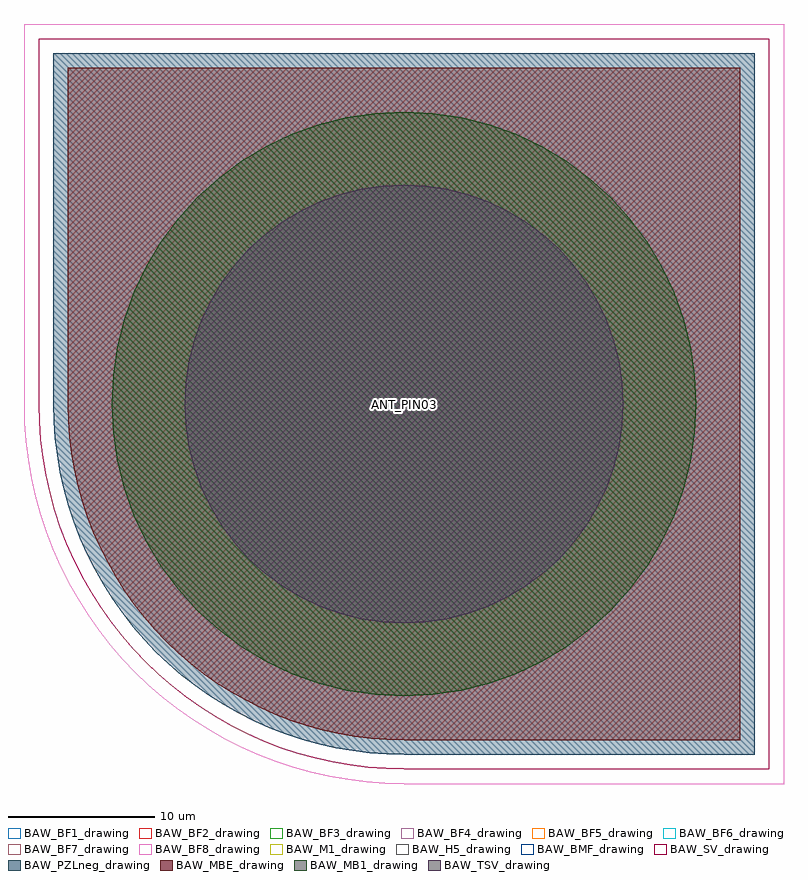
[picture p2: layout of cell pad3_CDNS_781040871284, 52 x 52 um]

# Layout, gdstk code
import gdstk
lib = gdstk.Library(unit=1e-6, precision=1e-09)
def P(c, l, *ps):  # polygons
    for p in ps: c.add(gdstk.Polygon(p, *l))
BAW_MBE_drawing = (2, 0)
BAW_SV_drawing = (7, 0)
BAW_M1_drawing = (8, 0)
BAW_MB1_drawing = (10, 0)
BAW_TSV_drawing = (11, 0)
EM_VPT_drawing = (35, 0)
BAW_BMF_drawing = (55, 0)
BAW_BF1_drawing = (140, 0)
BAW_BF2_drawing = (141, 0)
BAW_BF3_drawing = (142, 0)
BAW_BF4_drawing = (143, 0)
BAW_BF5_drawing = (144, 0)
BAW_BF6_drawing = (145, 0)
BAW_BF7_drawing = (146, 0)
BAW_BF8_drawing = (147, 0)
BAW_H5_drawing = (202, 0)
BAW_PZLneg_drawing = (264, 0)

pad3_cdns_781040871284 = lib.new_cell('pad3_CDNS_781040871284')
P(pad3_cdns_781040871284, BAW_MBE_drawing, [(0,-23),(-1.129,-22.972),(-2.254,-22.889),(-3.375,-22.751),(-4.487,-22.558),(-5.589,-22.311),(-6.677,-22.01),(-7.749,-21.656),(-8.802,-21.249),(-9.834,-20.792),(-10.842,-20.284),(-11.824,-19.728),(-12.778,-19.124),(-13.701,-18.474),(-14.591,-17.779),(-15.446,-17.042),(-16.264,-16.264),(-17.042,-15.446),(-17.779,-14.591),(-18.474,-13.701),(-19.124,-12.778),(-19.728,-11.824),(-20.284,-10.842),(-20.792,-9.834),(-21.249,-8.802),(-21.656,-7.749),(-22.01,-6.677),(-22.311,-5.589),(-22.558,-4.487),(-22.751,-3.375),(-22.889,-2.254),(-22.972,-1.129),(-23,0),(-23,23),(23,23),(23,-23)])
P(pad3_cdns_781040871284, BAW_SV_drawing, [(0,-25),(-1.227,-24.97),(-2.45,-24.88),(-3.668,-24.729),(-4.877,-24.52),(-6.075,-24.251),(-7.257,-23.924),(-8.422,-23.539),(-9.567,-23.097),(-10.689,-22.6),(-11.785,-22.048),(-12.853,-21.443),(-13.889,-20.787),(-14.893,-20.08),(-15.86,-19.325),(-16.789,-18.524),(-17.678,-17.678),(-18.524,-16.789),(-19.325,-15.86),(-20.08,-14.893),(-20.787,-13.889),(-21.443,-12.853),(-22.048,-11.785),(-22.6,-10.689),(-23.097,-9.567),(-23.539,-8.422),(-23.924,-7.257),(-24.251,-6.075),(-24.52,-4.877),(-24.729,-3.668),(-24.88,-2.45),(-24.97,-1.227),(-25,0),(-25,25),(25,25),(25,-25)])
P(pad3_cdns_781040871284, BAW_M1_drawing, [(0,-25),(-1.227,-24.97),(-2.45,-24.88),(-3.668,-24.729),(-4.877,-24.52),(-6.075,-24.251),(-7.257,-23.924),(-8.422,-23.539),(-9.567,-23.097),(-10.689,-22.6),(-11.785,-22.048),(-12.853,-21.443),(-13.889,-20.787),(-14.893,-20.08),(-15.86,-19.325),(-16.789,-18.524),(-17.678,-17.678),(-18.524,-16.789),(-19.325,-15.86),(-20.08,-14.893),(-20.787,-13.889),(-21.443,-12.853),(-22.048,-11.785),(-22.6,-10.689),(-23.097,-9.567),(-23.539,-8.422),(-23.924,-7.257),(-24.251,-6.075),(-24.52,-4.877),(-24.729,-3.668),(-24.88,-2.45),(-24.97,-1.227),(-25,0),(-25,25),(25,25),(25,-25)])
P(pad3_cdns_781040871284, BAW_MB1_drawing, [(20,0),(19.904,1.96),(19.616,3.902),(19.139,5.806),(18.478,7.654),(17.638,9.428),(16.629,11.111),(15.46,12.688),(14.142,14.142),(12.688,15.46),(11.111,16.629),(9.428,17.638),(7.654,18.478),(5.806,19.139),(3.902,19.616),(1.96,19.904),(0,20),(-1.96,19.904),(-3.902,19.616),(-5.806,19.139),(-7.654,18.478),(-9.428,17.638),(-11.111,16.629),(-12.688,15.46),(-14.142,14.142),(-15.46,12.688),(-16.629,11.111),(-17.638,9.428),(-18.478,7.654),(-19.139,5.806),(-19.616,3.902),(-19.904,1.96),(-20,0),(-19.904,-1.96),(-19.616,-3.902),(-19.139,-5.806),(-18.478,-7.654),(-17.638,-9.428),(-16.629,-11.111),(-15.46,-12.688),(-14.142,-14.142),(-12.688,-15.46),(-11.111,-16.629),(-9.428,-17.638),(-7.654,-18.478),(-5.806,-19.139),(-3.902,-19.616),(-1.96,-19.904),(0,-20),(1.96,-19.904),(3.902,-19.616),(5.806,-19.139),(7.654,-18.478),(9.428,-17.638),(11.111,-16.629),(12.688,-15.46),(14.142,-14.142),(15.46,-12.688),(16.629,-11.111),(17.638,-9.428),(18.478,-7.654),(19.139,-5.806),(19.616,-3.902),(19.904,-1.96)])
P(pad3_cdns_781040871284, BAW_TSV_drawing, [(15,0),(14.928,1.47),(14.712,2.926),(14.354,4.354),(13.858,5.74),(13.229,7.071),(12.472,8.334),(11.595,9.516),(10.607,10.607),(9.516,11.595),(8.334,12.472),(7.071,13.229),(5.74,13.858),(4.354,14.354),(2.926,14.712),(1.47,14.928),(0,15),(-1.47,14.928),(-2.926,14.712),(-4.354,14.354),(-5.74,13.858),(-7.071,13.229),(-8.334,12.472),(-9.516,11.595),(-10.607,10.607),(-11.595,9.516),(-12.472,8.334),(-13.229,7.071),(-13.858,5.74),(-14.354,4.354),(-14.712,2.926),(-14.928,1.47),(-15,0),(-14.928,-1.47),(-14.712,-2.926),(-14.354,-4.354),(-13.858,-5.74),(-13.229,-7.071),(-12.472,-8.334),(-11.595,-9.516),(-10.607,-10.607),(-9.516,-11.595),(-8.334,-12.472),(-7.071,-13.229),(-5.74,-13.858),(-4.354,-14.354),(-2.926,-14.712),(-1.47,-14.928),(0,-15),(1.47,-14.928),(2.926,-14.712),(4.354,-14.354),(5.74,-13.858),(7.071,-13.229),(8.334,-12.472),(9.516,-11.595),(10.607,-10.607),(11.595,-9.516),(12.472,-8.334),(13.229,-7.071),(13.858,-5.74),(14.354,-4.354),(14.712,-2.926),(14.928,-1.47)])
P(pad3_cdns_781040871284, BAW_BMF_drawing, [(0,-25),(-1.227,-24.97),(-2.45,-24.88),(-3.668,-24.729),(-4.877,-24.52),(-6.075,-24.251),(-7.257,-23.924),(-8.422,-23.539),(-9.567,-23.097),(-10.689,-22.6),(-11.785,-22.048),(-12.853,-21.443),(-13.889,-20.787),(-14.893,-20.08),(-15.86,-19.325),(-16.789,-18.524),(-17.678,-17.678),(-18.524,-16.789),(-19.325,-15.86),(-20.08,-14.893),(-20.787,-13.889),(-21.443,-12.853),(-22.048,-11.785),(-22.6,-10.689),(-23.097,-9.567),(-23.539,-8.422),(-23.924,-7.257),(-24.251,-6.075),(-24.52,-4.877),(-24.729,-3.668),(-24.88,-2.45),(-24.97,-1.227),(-25,0),(-25,25),(25,25),(25,-25)])
P(pad3_cdns_781040871284, BAW_BF1_drawing, [(0,-26),(-1.276,-25.969),(-2.548,-25.875),(-3.815,-25.719),(-5.072,-25.5),(-6.318,-25.221),(-7.547,-24.88),(-8.759,-24.48),(-9.95,-24.021),(-11.116,-23.504),(-12.256,-22.93),(-13.367,-22.301),(-14.445,-21.618),(-15.488,-20.883),(-16.494,-20.098),(-17.461,-19.265),(-18.385,-18.385),(-19.265,-17.461),(-20.098,-16.494),(-20.883,-15.488),(-21.618,-14.445),(-22.301,-13.367),(-22.93,-12.256),(-23.504,-11.116),(-24.021,-9.95),(-24.48,-8.759),(-24.88,-7.547),(-25.221,-6.318),(-25.5,-5.072),(-25.719,-3.815),(-25.875,-2.548),(-25.969,-1.276),(-26,0),(-26,26),(26,26),(26,-26)])
P(pad3_cdns_781040871284, BAW_BF2_drawing, [(0,-26),(-1.276,-25.969),(-2.548,-25.875),(-3.815,-25.719),(-5.072,-25.5),(-6.318,-25.221),(-7.547,-24.88),(-8.759,-24.48),(-9.95,-24.021),(-11.116,-23.504),(-12.256,-22.93),(-13.367,-22.301),(-14.445,-21.618),(-15.488,-20.883),(-16.494,-20.098),(-17.461,-19.265),(-18.385,-18.385),(-19.265,-17.461),(-20.098,-16.494),(-20.883,-15.488),(-21.618,-14.445),(-22.301,-13.367),(-22.93,-12.256),(-23.504,-11.116),(-24.021,-9.95),(-24.48,-8.759),(-24.88,-7.547),(-25.221,-6.318),(-25.5,-5.072),(-25.719,-3.815),(-25.875,-2.548),(-25.969,-1.276),(-26,0),(-26,26),(26,26),(26,-26)])
P(pad3_cdns_781040871284, BAW_BF3_drawing, [(0,-26),(-1.276,-25.969),(-2.548,-25.875),(-3.815,-25.719),(-5.072,-25.5),(-6.318,-25.221),(-7.547,-24.88),(-8.759,-24.48),(-9.95,-24.021),(-11.116,-23.504),(-12.256,-22.93),(-13.367,-22.301),(-14.445,-21.618),(-15.488,-20.883),(-16.494,-20.098),(-17.461,-19.265),(-18.385,-18.385),(-19.265,-17.461),(-20.098,-16.494),(-20.883,-15.488),(-21.618,-14.445),(-22.301,-13.367),(-22.93,-12.256),(-23.504,-11.116),(-24.021,-9.95),(-24.48,-8.759),(-24.88,-7.547),(-25.221,-6.318),(-25.5,-5.072),(-25.719,-3.815),(-25.875,-2.548),(-25.969,-1.276),(-26,0),(-26,26),(26,26),(26,-26)])
P(pad3_cdns_781040871284, BAW_BF4_drawing, [(0,-26),(-1.276,-25.969),(-2.548,-25.875),(-3.815,-25.719),(-5.072,-25.5),(-6.318,-25.221),(-7.547,-24.88),(-8.759,-24.48),(-9.95,-24.021),(-11.116,-23.504),(-12.256,-22.93),(-13.367,-22.301),(-14.445,-21.618),(-15.488,-20.883),(-16.494,-20.098),(-17.461,-19.265),(-18.385,-18.385),(-19.265,-17.461),(-20.098,-16.494),(-20.883,-15.488),(-21.618,-14.445),(-22.301,-13.367),(-22.93,-12.256),(-23.504,-11.116),(-24.021,-9.95),(-24.48,-8.759),(-24.88,-7.547),(-25.221,-6.318),(-25.5,-5.072),(-25.719,-3.815),(-25.875,-2.548),(-25.969,-1.276),(-26,0),(-26,26),(26,26),(26,-26)])
P(pad3_cdns_781040871284, BAW_BF5_drawing, [(0,-26),(-1.276,-25.969),(-2.548,-25.875),(-3.815,-25.719),(-5.072,-25.5),(-6.318,-25.221),(-7.547,-24.88),(-8.759,-24.48),(-9.95,-24.021),(-11.116,-23.504),(-12.256,-22.93),(-13.367,-22.301),(-14.445,-21.618),(-15.488,-20.883),(-16.494,-20.098),(-17.461,-19.265),(-18.385,-18.385),(-19.265,-17.461),(-20.098,-16.494),(-20.883,-15.488),(-21.618,-14.445),(-22.301,-13.367),(-22.93,-12.256),(-23.504,-11.116),(-24.021,-9.95),(-24.48,-8.759),(-24.88,-7.547),(-25.221,-6.318),(-25.5,-5.072),(-25.719,-3.815),(-25.875,-2.548),(-25.969,-1.276),(-26,0),(-26,26),(26,26),(26,-26)])
P(pad3_cdns_781040871284, BAW_BF6_drawing, [(0,-26),(-1.276,-25.969),(-2.548,-25.875),(-3.815,-25.719),(-5.072,-25.5),(-6.318,-25.221),(-7.547,-24.88),(-8.759,-24.48),(-9.95,-24.021),(-11.116,-23.504),(-12.256,-22.93),(-13.367,-22.301),(-14.445,-21.618),(-15.488,-20.883),(-16.494,-20.098),(-17.461,-19.265),(-18.385,-18.385),(-19.265,-17.461),(-20.098,-16.494),(-20.883,-15.488),(-21.618,-14.445),(-22.301,-13.367),(-22.93,-12.256),(-23.504,-11.116),(-24.021,-9.95),(-24.48,-8.759),(-24.88,-7.547),(-25.221,-6.318),(-25.5,-5.072),(-25.719,-3.815),(-25.875,-2.548),(-25.969,-1.276),(-26,0),(-26,26),(26,26),(26,-26)])
P(pad3_cdns_781040871284, BAW_BF7_drawing, [(0,-26),(-1.276,-25.969),(-2.548,-25.875),(-3.815,-25.719),(-5.072,-25.5),(-6.318,-25.221),(-7.547,-24.88),(-8.759,-24.48),(-9.95,-24.021),(-11.116,-23.504),(-12.256,-22.93),(-13.367,-22.301),(-14.445,-21.618),(-15.488,-20.883),(-16.494,-20.098),(-17.461,-19.265),(-18.385,-18.385),(-19.265,-17.461),(-20.098,-16.494),(-20.883,-15.488),(-21.618,-14.445),(-22.301,-13.367),(-22.93,-12.256),(-23.504,-11.116),(-24.021,-9.95),(-24.48,-8.759),(-24.88,-7.547),(-25.221,-6.318),(-25.5,-5.072),(-25.719,-3.815),(-25.875,-2.548),(-25.969,-1.276),(-26,0),(-26,26),(26,26),(26,-26)])
P(pad3_cdns_781040871284, BAW_BF8_drawing, [(0,-26),(-1.276,-25.969),(-2.548,-25.875),(-3.815,-25.719),(-5.072,-25.5),(-6.318,-25.221),(-7.547,-24.88),(-8.759,-24.48),(-9.95,-24.021),(-11.116,-23.504),(-12.256,-22.93),(-13.367,-22.301),(-14.445,-21.618),(-15.488,-20.883),(-16.494,-20.098),(-17.461,-19.265),(-18.385,-18.385),(-19.265,-17.461),(-20.098,-16.494),(-20.883,-15.488),(-21.618,-14.445),(-22.301,-13.367),(-22.93,-12.256),(-23.504,-11.116),(-24.021,-9.95),(-24.48,-8.759),(-24.88,-7.547),(-25.221,-6.318),(-25.5,-5.072),(-25.719,-3.815),(-25.875,-2.548),(-25.969,-1.276),(-26,0),(-26,26),(26,26),(26,-26)])
P(pad3_cdns_781040871284, BAW_H5_drawing, [(0,-25),(-1.227,-24.97),(-2.45,-24.88),(-3.668,-24.729),(-4.877,-24.52),(-6.075,-24.251),(-7.257,-23.924),(-8.422,-23.539),(-9.567,-23.097),(-10.689,-22.6),(-11.785,-22.048),(-12.853,-21.443),(-13.889,-20.787),(-14.893,-20.08),(-15.86,-19.325),(-16.789,-18.524),(-17.678,-17.678),(-18.524,-16.789),(-19.325,-15.86),(-20.08,-14.893),(-20.787,-13.889),(-21.443,-12.853),(-22.048,-11.785),(-22.6,-10.689),(-23.097,-9.567),(-23.539,-8.422),(-23.924,-7.257),(-24.251,-6.075),(-24.52,-4.877),(-24.729,-3.668),(-24.88,-2.45),(-24.97,-1.227),(-25,0),(-25,25),(25,25),(25,-25)])
P(pad3_cdns_781040871284, BAW_PZLneg_drawing, [(0,-24),(-1.178,-23.971),(-2.352,-23.884),(-3.522,-23.74),(-4.682,-23.539),(-5.832,-23.281),(-6.967,-22.967),(-8.085,-22.597),(-9.184,-22.173),(-10.261,-21.696),(-11.314,-21.166),(-12.339,-20.586),(-13.334,-19.955),(-14.297,-19.277),(-15.225,-18.552),(-16.117,-17.783),(-16.971,-16.971),(-17.783,-16.117),(-18.552,-15.225),(-19.277,-14.297),(-19.955,-13.334),(-20.586,-12.339),(-21.166,-11.314),(-21.696,-10.261),(-22.173,-9.184),(-22.597,-8.085),(-22.967,-6.967),(-23.281,-5.832),(-23.539,-4.682),(-23.74,-3.522),(-23.884,-2.352),(-23.971,-1.178),(-24,0),(-24,24),(24,24),(24,-24)])
pad3_cdns_781040871284.add(gdstk.FlexPath([(-30,0),(30,0)], 0, ends="flush", simple_path=True, layer=35, datatype=0))  # EM_VPT_drawing
pad3_cdns_781040871284.add(gdstk.Label('ANT_PIN03', (0,0), layer=71, texttype=0))

lib.write_gds('pad3_CDNS_781040871284.gds')
